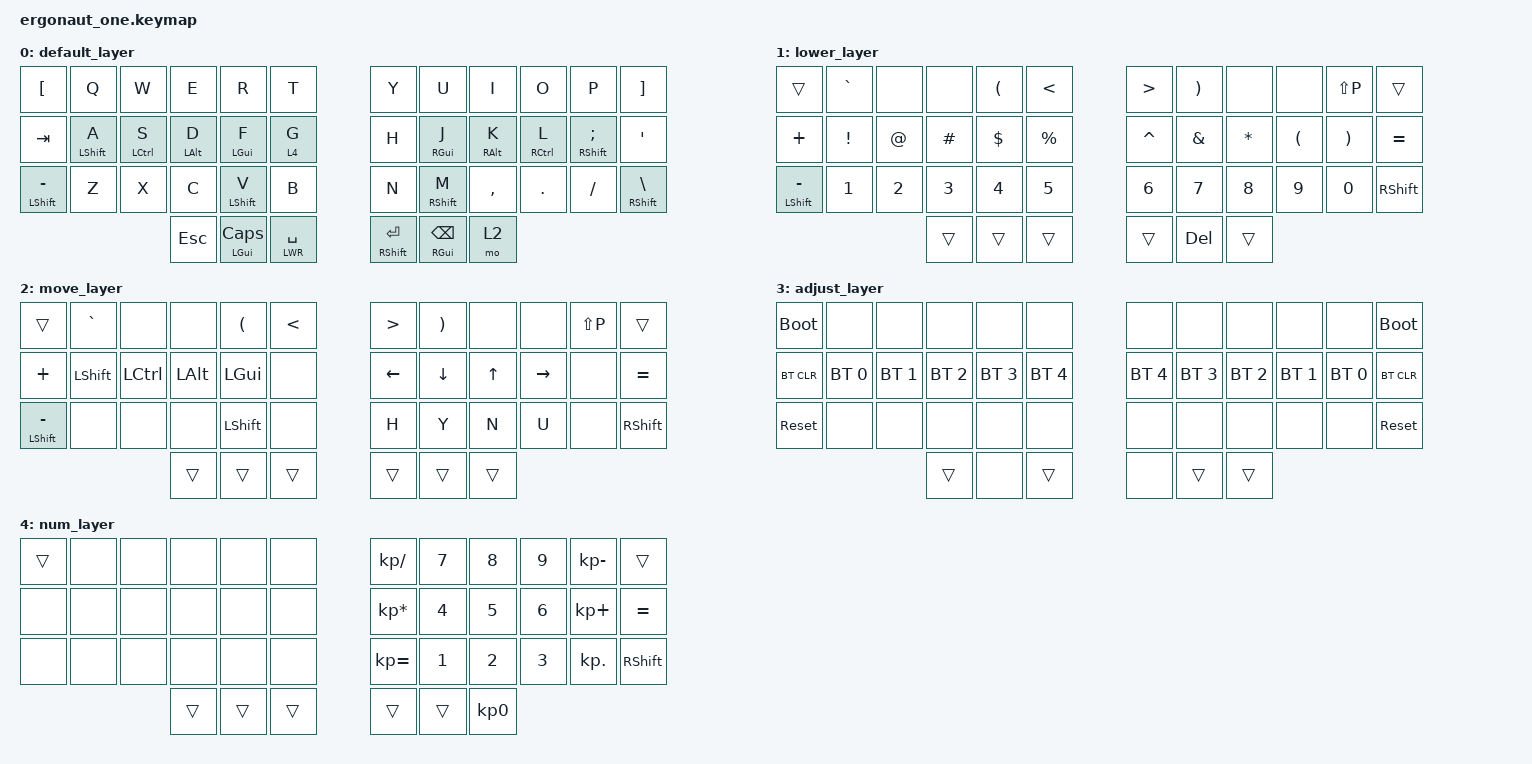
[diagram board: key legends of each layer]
#include <behaviors.dtsi>
#include <dt-bindings/zmk/bt.h>
#include <dt-bindings/zmk/keys.h>

#define DEF 0
#define LWR 1
#define RSE 2
#define ADJ 3

&lt {
    quick-tap-ms = <200>;
    flavor = "balanced";
};

&mt {
    quick-tap-ms = <200>;
    flavor = "hold-preferred";
};

/ {
    conditional_layers {
        compatible = "zmk,conditional-layers";

        tri-layer {
            if-layers = <1 2>;
            then-layer = <3>;
        };
    };

    behaviors {
        mt_ballanced: mt_ballanced {
            compatible = "zmk,behavior-hold-tap";
            label = "MT_BALLANCED";
            bindings = <&kp>, <&kp>;

            #binding-cells = <2>;
            flavor = "tap-preferred";
            tapping-term-ms = <200>;
            quick-tap-ms = <200>;
        };
    };

    combos {
        compatible = "zmk,combos";

        HR-screenshoot-combo {
            bindings = <&take_screenshoot>;
            key-positions = <16 12>;
            layers = <0>;
        };

        third_layer_l {
            bindings = <&mo 3>;
            key-positions = <1 2 3>;
            layers = <0>;
        };

        third_layer_r {
            bindings = <&mo 3>;
            key-positions = <9 10 8>;
            layers = <0>;
        };
    };

    macros {
        take_screenshoot: take_screenshoot {
            compatible = "zmk,behavior-macro";
            #binding-cells = <0>;
            bindings = <&kp LG(LS(NUMBER_4))>;
            label = "TAKE_SCREENSHOOT";
        };
    };

    keymap {
        compatible = "zmk,keymap";

        default_layer {
            bindings = <
&kp LEFT_BRACKET      &kp Q                       &kp W                         &kp E                     &kp R                       &kp T          &kp Y                  &kp U                        &kp I                      &kp O                          &kp P                           &kp RIGHT_BRACKET
&kp TAB               &mt_ballanced LEFT_SHIFT A  &mt_ballanced LEFT_CONTROL S  &mt_ballanced LEFT_ALT D  &mt_ballanced LEFT_GUI F    &lt 4 G        &kp H                  &mt_ballanced RIGHT_GUI J    &mt_ballanced RIGHT_ALT K  &mt_ballanced RIGHT_CONTROL L  &mt_ballanced RIGHT_SHIFT SEMI  &kp SQT
&mt LEFT_SHIFT MINUS  &kp Z                       &kp X                         &kp C                     &mt_ballanced LEFT_SHIFT V  &kp B          &kp N                  &mt_ballanced RIGHT_SHIFT M  &kp COMMA                  &kp DOT                        &kp FSLH                        &mt RIGHT_SHIFT BSLH
                                                                                &kp ESCAPE                &mt LEFT_GUI CAPSLOCK       &lt LWR SPACE  &mt RIGHT_SHIFT ENTER  &mt RIGHT_GUI BACKSPACE      &mo 2
            >;
        };

        lower_layer {
            bindings = <
&trans                &kp GRAVE  &none   &none     &kp LEFT_PARENTHESIS  &kp LESS_THAN  &kp GREATER_THAN  &kp RIGHT_PARENTHESIS  &none     &none     &kp LS(P)  &trans
&kp PLUS              &kp EXCL   &kp AT  &kp HASH  &kp DLLR              &kp PRCNT      &kp CARET         &kp AMPS               &kp STAR  &kp LPAR  &kp RPAR   &kp EQUAL
&mt LEFT_SHIFT MINUS  &kp N1     &kp N2  &kp N3    &kp N4                &kp N5         &kp N6            &kp N7                 &kp N8    &kp N9    &kp N0     &kp RIGHT_SHIFT
                                         &trans    &trans                &trans         &trans            &kp DELETE             &trans
            >;
        };

        move_layer {
            bindings = <
&trans                &kp GRAVE       &none             &none         &kp LEFT_PARENTHESIS  &kp LESS_THAN  &kp GREATER_THAN  &kp RIGHT_PARENTHESIS  &none         &none            &kp LS(P)  &trans
&kp PLUS              &kp LEFT_SHIFT  &kp LEFT_CONTROL  &kp LEFT_ALT  &kp LEFT_GUI          &none          &kp LEFT_ARROW    &kp DOWN_ARROW         &kp UP_ARROW  &kp RIGHT_ARROW  &none      &kp EQUAL
&mt LEFT_SHIFT MINUS  &none           &none             &none         &kp LEFT_SHIFT        &none          &kp H             &kp Y                  &kp N         &kp U            &none      &kp RIGHT_SHIFT
                                                        &trans        &trans                &trans         &trans            &trans                 &trans
            >;
        };

        adjust_layer {
            bindings = <
&bootloader  &none         &none         &none         &none         &none         &none         &none         &none         &none         &none         &bootloader
&bt BT_CLR   &bt BT_SEL 0  &bt BT_SEL 1  &bt BT_SEL 2  &bt BT_SEL 3  &bt BT_SEL 4  &bt BT_SEL 4  &bt BT_SEL 3  &bt BT_SEL 2  &bt BT_SEL 1  &bt BT_SEL 0  &bt BT_CLR
&sys_reset   &none         &none         &none         &none         &none         &none         &none         &none         &none         &none         &sys_reset
                                         &trans        &none         &trans        &none         &trans        &trans
            >;
        };

        num_layer {
            bindings = <
&trans  &none  &none  &none   &none   &none   &kp KP_DIVIDE    &kp NUMBER_7  &kp NUMBER_8     &kp NUMBER_9  &kp KP_SUBTRACT  &trans
&none   &none  &none  &none   &none   &none   &kp KP_MULTIPLY  &kp NUMBER_4  &kp NUMBER_5     &kp NUMBER_6  &kp KP_PLUS      &kp EQUAL
&none   &none  &none  &none   &none   &none   &kp KP_EQUAL     &kp NUMBER_1  &kp NUMBER_2     &kp NUMBER_3  &kp KP_DOT       &kp RIGHT_SHIFT
                      &trans  &trans  &trans  &trans           &trans        &kp KP_NUMBER_0
            >;
        };
    };
};
